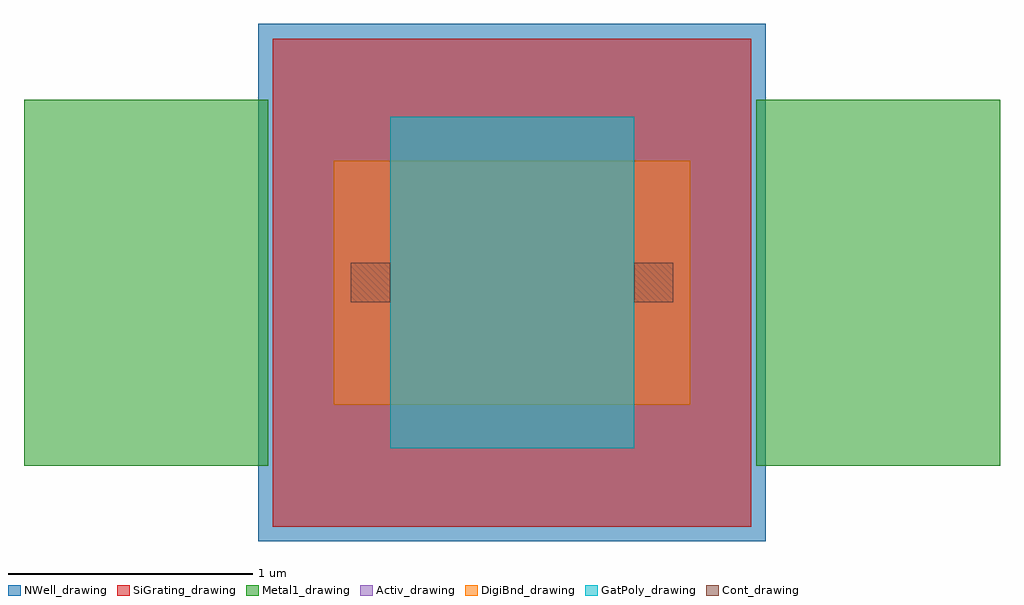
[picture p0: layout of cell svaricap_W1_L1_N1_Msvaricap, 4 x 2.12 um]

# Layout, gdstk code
import gdstk
lib = gdstk.Library(unit=1e-6, precision=1e-09)
def R(c, l, rs):  # rectangles x0, y0, x1, y1
    for r in rs: c.add(gdstk.rectangle(r[:2], r[2:], *l))
Activ_drawing = (1, 0)
GatPoly_drawing = (5, 0)
Cont_drawing = (6, 0)
Metal1_drawing = (8, 0)
DigiBnd_drawing = (16, 0)
NWell_drawing = (31, 0)
SiGrating_drawing = (87, 0)

rectangle_gdsfactorypcom = lib.new_cell('rectangle_gdsfactorypcomponentspshapesprectangle_S2p08__089172a4')
R(rectangle_gdsfactorypcom, NWell_drawing, [(-1.04,-1.06,1.04,1.06)])

c_rectangle_gdsfactorypcom = lib.new_cell('rectangle_gdsfactorypcomponentspshapesprectangle_S1_1p3_21d6a434')
R(c_rectangle_gdsfactorypcom, GatPoly_drawing, [(0,0,1,1.36)])

c_rectangle_gdsfactorypcom_ = lib.new_cell('rectangle_gdsfactorypcomponentspshapesprectangle_S1p46__ddf95936')
R(c_rectangle_gdsfactorypcom_, Activ_drawing, [(0,0,1.46,1)])

c_rectangle_gdsfactorypcom__ = lib.new_cell('rectangle_gdsfactorypcomponentspshapesprectangle_S1p46__4fd542bb')
R(c_rectangle_gdsfactorypcom__, DigiBnd_drawing, [(0,0,1.46,1)])

c_rectangle_gdsfactorypcom___ = lib.new_cell('rectangle_gdsfactorypcomponentspshapesprectangle_S0p16__69e6ae0d')
R(c_rectangle_gdsfactorypcom___, Cont_drawing, [(0,0,0.16,0.16)])

c_rectangle_gdsfactorypcom____ = lib.new_cell('rectangle_gdsfactorypcomponentspshapesprectangle_S1_1p5_15baaa9d')
R(c_rectangle_gdsfactorypcom____, Metal1_drawing, [(0,0,1,1.5)])

c_rectangle_gdsfactorypcom_____ = lib.new_cell('rectangle_gdsfactorypcomponentspshapesprectangle_S1p96__853ccb18')
R(c_rectangle_gdsfactorypcom_____, SiGrating_drawing, [(-0.98,-1,0.98,1)])

svaricap_w1_l1_n1_msvari = lib.new_cell('svaricap_W1_L1_N1_Msvaricap')
svaricap_w1_l1_n1_msvari.add(gdstk.Reference(rectangle_gdsfactorypcom, (0,0)))
svaricap_w1_l1_n1_msvari.add(gdstk.Reference(c_rectangle_gdsfactorypcom, (-0.5,-0.68)))
svaricap_w1_l1_n1_msvari.add(gdstk.Reference(c_rectangle_gdsfactorypcom_, (-0.73,-0.5)))
svaricap_w1_l1_n1_msvari.add(gdstk.Reference(c_rectangle_gdsfactorypcom__, (-0.73,-0.5)))
svaricap_w1_l1_n1_msvari.add(gdstk.Reference(c_rectangle_gdsfactorypcom___, (-0.66,-0.08)))
svaricap_w1_l1_n1_msvari.add(gdstk.Reference(c_rectangle_gdsfactorypcom___, (0.5,-0.08)))
svaricap_w1_l1_n1_msvari.add(gdstk.Reference(c_rectangle_gdsfactorypcom____, (-2,-0.75)))
svaricap_w1_l1_n1_msvari.add(gdstk.Reference(c_rectangle_gdsfactorypcom____, (1,-0.75)))
svaricap_w1_l1_n1_msvari.add(gdstk.Reference(c_rectangle_gdsfactorypcom_____, (0,0)))

lib.write_gds('svaricap_W1_L1_N1_Msvaricap.gds')
